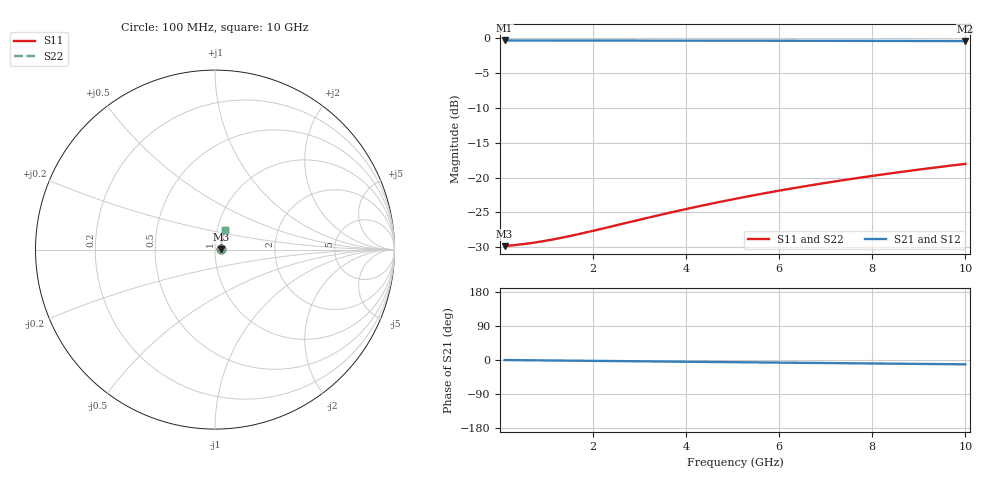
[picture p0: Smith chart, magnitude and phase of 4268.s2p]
# Hz S RI R 50.00
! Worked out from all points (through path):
!   100 points, 100 MHz to 10 GHz, reference 50 ohm
!   highest |S21| = -0.28 dB at 100 MHz (marker M1); lowest = -0.4 dB at 10 GHz (marker M2)
!   group delay of S21, straight-line fit = 3.17 ps
!   lowest |S11| = -29.9 dB at 100 MHz (marker M3), VSWR 1.07, Z = 53.3 + j0.124 ohm
!   |S11| at or under -10 dB: start of sweep to end of sweep
!   |S22| runs from -29.9 to -18.0 dB; largest |S21 - S12| = 0
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1e8  0.0321 0.00116  0.9679 -0.00194  0.9679 -0.00194  0.0321 0.00116
5e8  0.0328 0.00579  0.9672 -0.00969  0.9672 -0.00969  0.0328 0.00579
7e8  0.033 0.0081  0.967 -0.0136  0.967 -0.0136  0.033 0.0081
9e8  0.0332 0.0104  0.9668 -0.0174  0.9668 -0.0174  0.0332 0.0104
1.1e9  0.0334 0.0127  0.9665 -0.0213  0.9665 -0.0213  0.0334 0.0127
1.3e9  0.0336 0.015  0.9663 -0.0252  0.9663 -0.0252  0.0336 0.015
1.5e9  0.0339 0.0173  0.9661 -0.029  0.9661 -0.029  0.0339 0.0173
1.8e9  0.0342 0.0208  0.9657 -0.0348  0.9657 -0.0348  0.0342 0.0208
3.4e9  0.0366 0.0391  0.963 -0.0656  0.963 -0.0656  0.0366 0.0391
3.9e9  0.0375 0.0448  0.962 -0.0752  0.962 -0.0752  0.0375 0.0448
4.3e9  0.0384 0.0493  0.961 -0.0829  0.961 -0.0829  0.0384 0.0493
4.7e9  0.0393 0.0538  0.96 -0.0905  0.96 -0.0905  0.0393 0.0538
5.1e9  0.0403 0.0583  0.9589 -0.0981  0.9589 -0.0981  0.0403 0.0583
5.5e9  0.0413 0.0628  0.9577 -0.1057  0.9577 -0.1057  0.0413 0.0628
5.9e9  0.0424 0.0673  0.9565 -0.1133  0.9565 -0.1133  0.0424 0.0673
6.3e9  0.0436 0.0717  0.9551 -0.1209  0.9551 -0.1209  0.0436 0.0717
6.7e9  0.0448 0.0761  0.9537 -0.1284  0.9537 -0.1284  0.0448 0.0761
7.5e9  0.0475 0.0849  0.9507 -0.1434  0.9507 -0.1434  0.0475 0.0849
7.9e9  0.049 0.0892  0.949 -0.1509  0.949 -0.1509  0.049 0.0892
8.4e9  0.0509 0.0946  0.9469 -0.1602  0.9469 -0.1602  0.0509 0.0946
9.2e9  0.0541 0.1031  0.9432 -0.175  0.9432 -0.175  0.0541 0.1031
1e10  0.0577 0.1115  0.9392 -0.1896  0.9392 -0.1896  0.0577 0.1115
